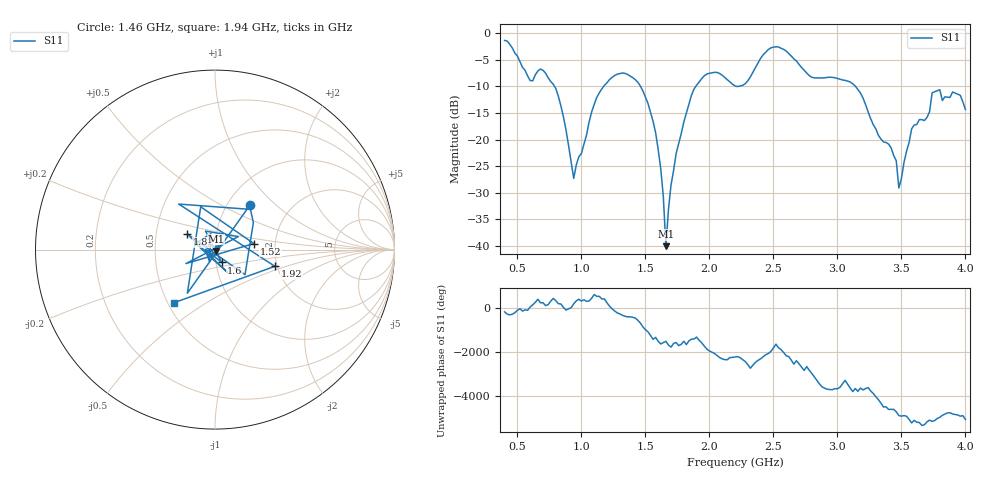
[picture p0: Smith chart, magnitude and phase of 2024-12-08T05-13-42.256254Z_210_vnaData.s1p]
!Created with skrf (http://scikit-rf.org).
# Hz S RI R 50.0
!freq ReS11 ImS11
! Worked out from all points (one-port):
!   181 points, 400 MHz to 4 GHz, reference 50 ohm
!   lowest |S11| = -40.0 dB at 1.66 GHz (marker M1), VSWR 1.02, Z = 50.5 - j0.842 ohm
!   |S11| at or under -10 dB: 789.8 MHz to 1.174 GHz (384.3 MHz wide, 39.1 % of centre); 1.462 GHz to 1.894 GHz (432.1 MHz wide, 25.8 % of centre); 3.141 GHz to end of sweep (the widest 3 of 4)
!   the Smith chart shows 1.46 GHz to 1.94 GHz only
!   S11 on the Smith chart (normalised r, x): 1.46 GHz: 1.27, +0.71; 1.52 GHz: 1.55, +0.11; 1.6 GHz: 1.06, -0.15; 1.82 GHz: 0.72, +0.13; 1.92 GHz: 1.94, -0.41; 1.94 GHz: 0.54, -0.37
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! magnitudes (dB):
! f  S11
! 400 MHz  -1.4
! 600 MHz  -8.9
! 720 MHz  -7.5
! 860 MHz  -15.8
! 940 MHz  -27.3
! 1.12 GHz  -12.1
! 1.3 GHz  -7.6
! 1.46 GHz  -9.9
! 1.52 GHz  -13.2
! 1.6 GHz  -21.9
! 1.64 GHz  -30.7
! 1.66 GHz  -40.0
! 1.7 GHz  -28.6
! 1.76 GHz  -20.8
! 1.82 GHz  -15.0
! 1.92 GHz  -9.2
! 1.94 GHz  -8.5
! 2.2 GHz  -9.9
! 2.48 GHz  -2.8
! 2.66 GHz  -4.8
! 3.1 GHz  -9.2
! 3.42 GHz  -21.6
! 3.46 GHz  -24.0
! 3.48 GHz  -29.1
! 3.56 GHz  -20.6
! 3.7 GHz  -15.8
! 3.74 GHz  -11.2
! 4 GHz  -14.3
